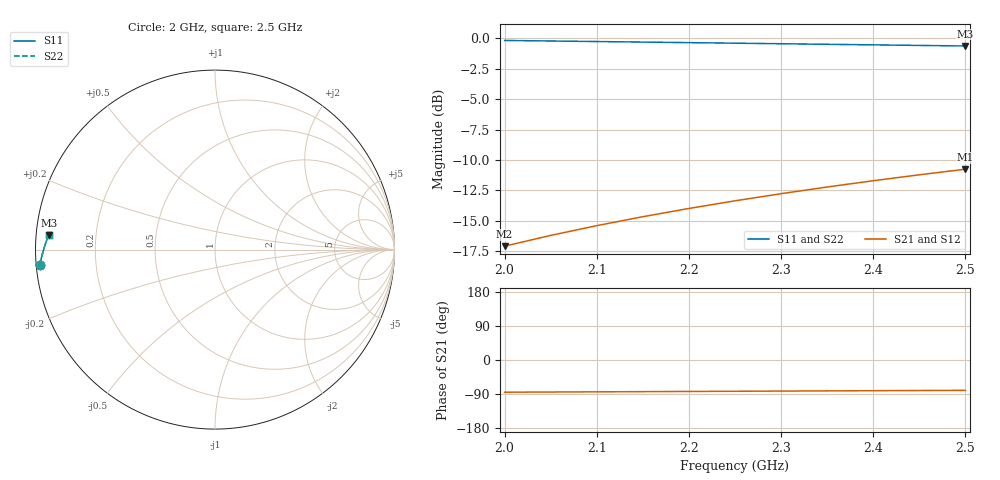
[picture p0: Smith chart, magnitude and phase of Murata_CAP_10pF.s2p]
! Murata 10pF capacitor S2P
! Simulated S-parameters for a 10pF capacitor
! Frequency: 2.0 - 2.5 GHz
# GHz S MA R 50
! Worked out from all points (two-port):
!   11 points, 2 GHz to 2.5 GHz, reference 50 ohm
!   highest |S21| = -10.75 dB at 2.5 GHz (marker M1); lowest = -17.1 dB at 2 GHz (marker M2)
!   |S21| within 3 dB of the highest: 2.218 GHz to end of sweep
!   lowest |S11| = -0.6 dB at 2.5 GHz (marker M3), VSWR 27.57, Z = 1.82 + j2.18 ohm
!   |S11| at or under -10 dB: nowhere
!   |S22| runs from -0.6 to -0.2 dB; largest |S21 - S12| = 0
2  0.98 -175.0  0.14 -85.0  0.14 -85.0  0.98 -175.0
2.05  0.975 -176.0  0.155 -84.5  0.155 -84.5  0.975 -176.0
2.1  0.97 -177.0  0.17 -84.0  0.17 -84.0  0.97 -177.0
2.15  0.965 -178.0  0.185 -83.5  0.185 -83.5  0.965 -178.0
2.2  0.96 -179.0  0.2 -83.0  0.2 -83.0  0.96 -179.0
2.25  0.955 -180.0  0.215 -82.5  0.215 -82.5  0.955 180.0
2.3  0.95 179.0  0.23 -82.0  0.23 -82.0  0.95 179.0
2.35  0.945 178.0  0.245 -81.5  0.245 -81.5  0.945 178.0
2.4  0.94 177.0  0.26 -81.0  0.26 -81.0  0.94 177.0
2.45  0.935 176.0  0.275 -80.5  0.275 -80.5  0.935 176.0
2.5  0.93 175.0  0.29 -80.0  0.29 -80.0  0.93 175.0
